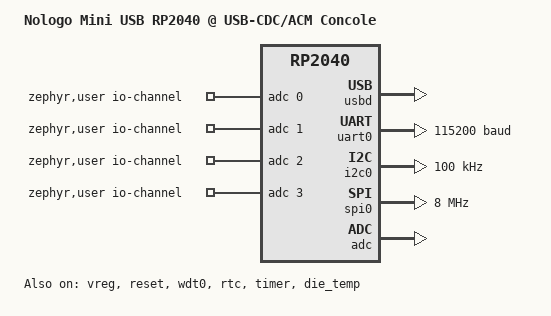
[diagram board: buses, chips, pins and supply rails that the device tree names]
/*
 * SPDX-FileCopyrightText: Copyright (c) 2025-2026 TiaC Systems
 * SPDX-License-Identifier: Apache-2.0
 */

/dts-v1/;

#include <freq.h>

#include <raspberrypi/rpi_pico/rp2040.dtsi>

#include <zephyr/dt-bindings/clock/rpi_pico_rp2040_clock.h>
#include <zephyr/dt-bindings/regulator/rpi_pico.h>

#include <zephyr/dt-bindings/i2c/i2c.h>

#include "mini_usb_rp2040-pinctrl.dtsi"

#include "stemma_qt_connector.dtsi"
#include "seeed_grove_connectors.dtsi"
#include "nologo_miniusb_connector.dtsi"
#include "nologo_miniusb_pads.dtsi"

/ {
	model = "Nologo Mini USB RP2040 @ USB-CDC/ACM Concole";
	compatible = "nologo,mini-usb-rp2040",
		     "nologo,mini-usb-rp2040-usbcons";

	chosen {
		zephyr,sram = &sram0;
		zephyr,console = &cdc_acm_console_uart;
		zephyr,shell-uart = &cdc_acm_console_uart;
	};

	aliases {
		watchdog0 = &wdt0;
		rtc = &rtc;
	};

	zephyr,user {
		io-channels = <&adc 0>, <&adc 1>, <&adc 2>, <&adc 3>;
	};
};

&clocks {
	status = "okay";
	pinctrl-0 = <&clocks_default>;
	pinctrl-names = "default";
};

&vreg {
	status = "okay";
	regulator-always-on;
	regulator-allowed-modes = <REGULATOR_RPI_PICO_MODE_NORMAL>;
};

&reset {
	status = "okay";
};

&wdt0 {
	status = "okay";
};

&rtc {
	status = "okay";
	clocks = <&clocks RPI_PICO_CLKID_CLK_RTC>;
};

&timer {
	status = "okay";
};

&dma {
	status = "okay";
};

&die_temp {
	status = "okay";
	friendly-name = "RP2040 chip temperature";
};

zephyr_udc0: &usbd {
	status = "okay";
	cdc_acm_console_uart: cdc-acm-console-uart {
		compatible = "zephyr,cdc-acm-uart";
	};
};

&uart0 {
	status = "okay";
	pinctrl-0 = <&uart0_default>;
	pinctrl-names = "default";
	current-speed = <115200>;
	data-bits = <8>;
	parity = "none";
	stop-bits = "1";
};

&i2c0 {
	status = "okay";
	pinctrl-0 = <&i2c0_default>;
	pinctrl-names = "default";
	clock-frequency = <I2C_BITRATE_STANDARD>;
};

&i2c1 {
	status = "disabled";
	pinctrl-0 = <&i2c1_default>;
	pinctrl-names = "default";
	clock-frequency = <I2C_BITRATE_FAST>;
};

&spi0 {
	status = "okay";
	pinctrl-0 = <&spi0_default>;
	pinctrl-names = "default";
	clock-frequency = <DT_FREQ_M(8)>;
};

&adc {
	status = "okay";
	pinctrl-0 = <&adc_default>;
	pinctrl-names = "default";
};

&pwm {
	status = "disabled";
	pinctrl-0 = <&pwm_default>;
	pinctrl-names = "default";
};

&gpio0 {
	status = "okay";
	/* namespace and positions without wired bits */
	gpio-reserved-ranges = <22 1>;
	gpio-line-names =
		"TX0",			/* GP0 */
		"RX0",			/* GP1 */
		"GP2_CTS0",		/* GP2 */
		"GP3_RTS0",		/* GP3 */
		"SDI0",			/* GP4 */
		"CSN0",			/* GP5 */
		"SCK0",			/* GP6 */
		"SDO0",			/* GP7 */
		"GP8_PWM8",		/* GP8 */
		"GP9_PWM9",		/* GP9 */
		"GP10_PWM10",		/* GP10 */
		"GP11_PWM11",		/* GP11 */
		"GP12_PWM12",		/* GP12 */
		"GP13_PWM13",		/* GP13 */
		"GP14_SDA1",		/* GP14 */
		"GP15_SCL1",		/* GP15 */
		"SDA0",			/* GP16 */
		"SCL0",			/* GP17 */
		"GP18_PWM2",		/* GP18 */
		"GP19_PWM3",		/* GP19 */
		"GP20_PWM4",		/* GP20 */
		"GP21_PWM5",		/* GP21 */
		"",  /* Din of LED stripe, GP22 */
		"GP23_PWM7",		/* GP23 */
		"GP24_PWM8",		/* GP24 */
		"GP25_PWM9",		/* GP25 */
		"ADC0",			/* GP26 */
		"ADC1",			/* GP27 */
		"ADC2",			/* GP28 */
		"ADC3";			/* GP29 */
};
